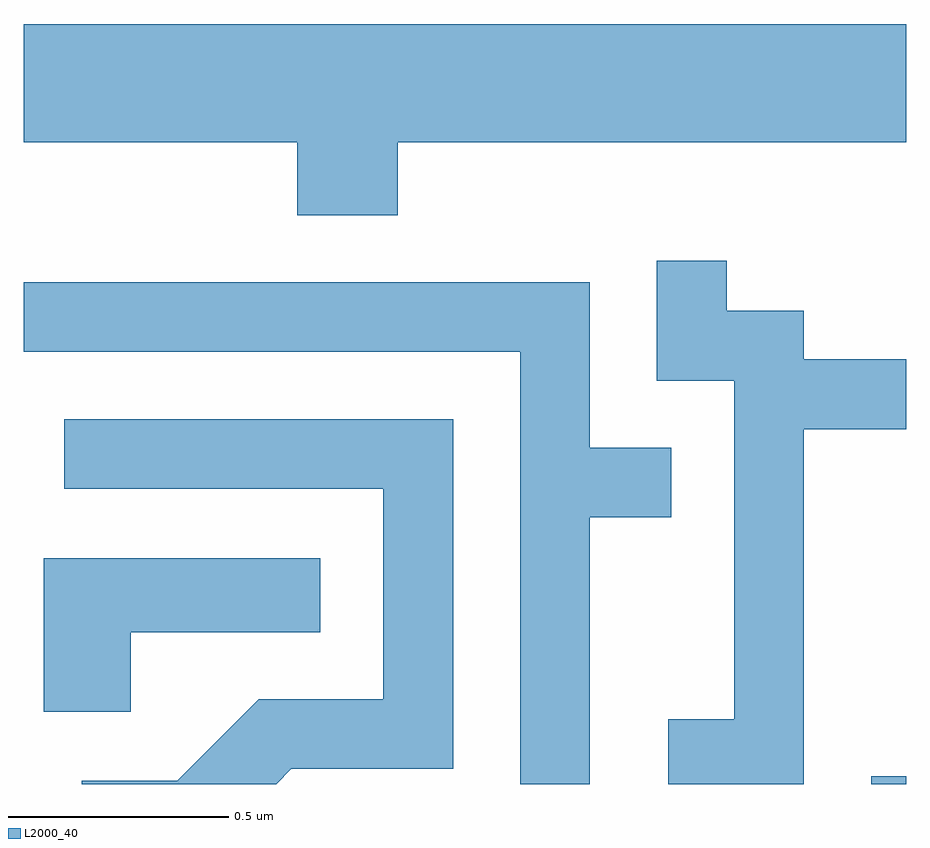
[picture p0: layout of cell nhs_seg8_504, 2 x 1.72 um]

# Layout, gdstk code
import gdstk
lib = gdstk.Library(unit=1e-6, precision=1e-09)
def R(c, l, rs):  # rectangles x0, y0, x1, y1
    for r in rs: c.add(gdstk.rectangle(r[:2], r[2:], *l))
def P(c, l, *ps):  # polygons
    for p in ps: c.add(gdstk.Polygon(p, *l))
L2000_40 = (2000, 40)

nhs_seg8_504 = lib.new_cell('nhs_seg8_504')
R(nhs_seg8_504, L2000_40, [(190.531,1899.342,190.611,1899.359)])
P(nhs_seg8_504, L2000_40, [(189.459,1900.796),(190.611,1900.796),(190.611,1901.064),(188.611,1901.064),(188.611,1900.796),(189.231,1900.796),(189.231,1900.631),(189.459,1900.631)],
  [(190.379,1900.146),(190.611,1900.146),(190.611,1900.304),(190.379,1900.304),(190.379,1900.414),(190.204,1900.414),(190.204,1900.528),(190.046,1900.528),(190.046,1900.256),(190.221,1900.256),(190.221,1899.489),(190.071,1899.489),(190.071,1899.342),(190.379,1899.342)],
  [(189.894,1899.946),(190.078,1899.946),(190.078,1900.104),(189.894,1900.104),(189.894,1900.479),(188.611,1900.479),(188.611,1900.321),(189.736,1900.321),(189.736,1899.342),(189.894,1899.342)],
  [(189.217,1899.376),(189.584,1899.376),(189.584,1900.169),(188.703,1900.169),(188.703,1900.011),(189.426,1900.011),(189.426,1899.534),(189.144,1899.534),(188.959,1899.349),(188.743,1899.349),(188.743,1899.342),(189.183,1899.342)],
  [(188.854,1899.686),(189.283,1899.686),(189.283,1899.854),(188.656,1899.854),(188.656,1899.506),(188.854,1899.506)])

lib.write_gds('nhs_seg8_504.gds')
